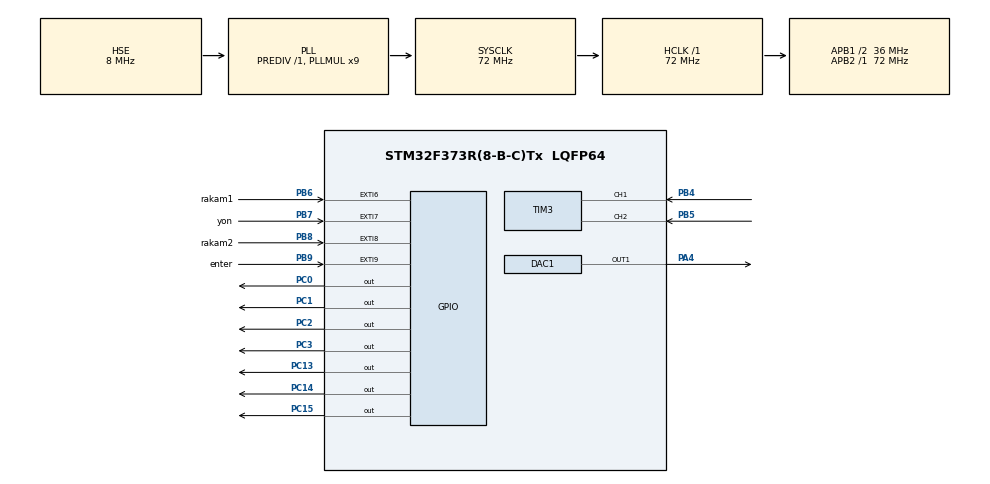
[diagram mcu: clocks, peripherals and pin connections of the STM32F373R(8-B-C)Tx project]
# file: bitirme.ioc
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Mcu.Family=STM32F3
Mcu.Name=STM32F373R(8-B-C)Tx
Mcu.Package=LQFP64
NVIC.EXTI9_5_IRQn=true\:0\:0\:false\:false\:true\:true\:true\:true
NVIC.PriorityGroup=NVIC_PRIORITYGROUP_4
NVIC.TIM4_IRQn=true\:0\:0\:false\:false\:true\:true\:true\:true
PA13.Mode=Serial_Wire
PA13.Signal=SYS_JTMS-SWDIO
PA14.Mode=Serial_Wire
PA14.Signal=SYS_JTCK-SWCLK
PA4.Signal=COMP_DAC11_group
PB4.Signal=S_TIM3_CH1
PB5.Signal=S_TIM3_CH2
PB6.GPIO_Label=rakam1
PB6.Signal=GPXTI6
PB7.GPIO_Label=yon
PB7.Signal=GPXTI7
PB8.GPIO_Label=rakam2
PB8.Signal=GPXTI8
PB9.GPIO_Label=enter
PB9.Signal=GPXTI9
PC0.Signal=GPIO_Output
PC1.Signal=GPIO_Output
PC13.Signal=GPIO_Output
PC14-OSC32_IN.Signal=GPIO_Output
PC15-OSC32_OUT.Signal=GPIO_Output
PC2.Signal=GPIO_Output
PC3.Signal=GPIO_Output
PF0-OSC_IN.Mode=HSE-External-Oscillator
PF0-OSC_IN.Signal=RCC_OSC_IN
PF1-OSC_OUT.Mode=HSE-External-Oscillator
PF1-OSC_OUT.Signal=RCC_OSC_OUT
ProjectManager.HeapSize=0x200
ProjectManager.StackSize=0x400
ProjectManager.TargetToolchain=STM32CubeIDE
RCC.AHBFreq_Value=72000000
RCC.APB1CLKDivider=RCC_HCLK_DIV2
RCC.APB1Freq_Value=36000000
RCC.APB1TimFreq_Value=72000000
RCC.APB2Freq_Value=72000000
RCC.APB2TimFreq_Value=72000000
RCC.CortexFreq_Value=72000000
RCC.HCLKFreq_Value=72000000
RCC.HSE_VALUE=8000000
RCC.HSI_VALUE=8000000
RCC.LSE_VALUE=32768
RCC.PLLMUL=RCC_PLL_MUL9
RCC.PLLSourceVirtual=RCC_PLLSOURCE_HSE
RCC.SYSCLKFreq_VALUE=72000000
RCC.SYSCLKSource=RCC_SYSCLKSOURCE_PLLCLK
RCC.USBFreq_Value=72000000
SH.COMP_DAC11_group.0=DAC1_OUT1,DAC_OUT1
SH.S_TIM3_CH1.0=TIM3_CH1,Encoder_Interface
SH.S_TIM3_CH2.0=TIM3_CH2,Encoder_Interface
TIM3.EncoderMode=TIM_ENCODERMODE_TI12
TIM3.IC1Filter=10
TIM3.IC2Filter=10
TIM4.Period=9
TIM4.Prescaler=7199
VP_TIM4_VS_ClockSourceINT.Mode=Internal
board=custom

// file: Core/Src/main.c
/* USER CODE BEGIN Header */
#include "lcd.h"
#include <math.h>
#include <stdio.h>
/* USER CODE END Header */
#include "main.h"

/* USER CODE BEGIN PTD */
typedef struct{

float Kp;

float hedefhiz;
float integral;
float sonhata;

float output;
int output_min;
int output_max;

float ornekleme_suresi;

}pid_kontrol;
/* USER CODE END PTD */

/* USER CODE BEGIN PD */
#define PI 3.14159265359f
void Pid_init(pid_kontrol* pid,float Kp_deger,float output_min,float output_max,float ornekleme_suresi);
/* USER CODE END PD */

DAC_HandleTypeDef hdac1;

TIM_HandleTypeDef htim3;
TIM_HandleTypeDef htim4;

/* USER CODE BEGIN PV */
pid_kontrol motor;

uint16_t encodereski = 0;
float hiz_rad = 0.0;
float hiz_rpm = 0.0;
float encoderfarkf = 0;

int a = 0;
int b = 0;
int c = 0;
int d = 0;
int zamansondeger =  0;
int hedefhiz_rpm = 0;

/* USER CODE END PV */

void SystemClock_Config(void);
static void MX_GPIO_Init(void);
static void MX_TIM3_Init(void);
static void MX_DAC1_Init(void);
static void MX_TIM4_Init(void);

int main(void)
{

  /* MCU Configuration--------------------------------------------------------*/

  /* Reset of all peripherals, Initializes the Flash interface and the Systick. */
  HAL_Init();

  /* Configure the system clock */
  SystemClock_Config();

  /* Initialize all configured peripherals */
  MX_GPIO_Init();
  MX_TIM3_Init();
  MX_DAC1_Init();
  MX_TIM4_Init();
  /* USER CODE BEGIN 2 */

  HAL_TIM_Encoder_Start(&htim3,TIM_CHANNEL_ALL);  //tim3'ü encoder modunda başlatır
  HAL_TIM_Base_Start_IT(&htim4)     ;     //Tim4'ü 5 ms'de 1 kesme almak için başlat
  HAL_DAC_Start(&hdac1,DAC_CHANNEL_1);

  Pid_init(&motor,10.0f,-2047,2047,0.001);
  /* USER CODE END 2 */

  /* Infinite loop */
  /* USER CODE BEGIN WHILE */
  initLCD();
  while (1)
  {
    /* USER CODE END WHILE */

    /* USER CODE BEGIN 3 */
	  	motor.hedefhiz = hedefhiz_rpm;
	    setCursor(0,0);
	  	HAL_Delay(10);

	  	if(c % 2 == 0)
	  	{
	  		char hedhiz[5];
	  		sprintf(hedhiz,"%d",hedefhiz_rpm);
	  		writeLCD("hedef hiz:");
	  		writeLCD(hedhiz);
	  		setCursor(0, 1);
	  		char mevhiz[5];
	  		sprintf(mevhiz,"%d",(int)hiz_rpm);
	  		writeLCD("motor hizi:");
	  		writeLCD(mevhiz);
	  	}

	  	else
	  	{
	  		clearLCD();
	  		while(c % 2 == 1)
	  		{
	  			setCursor(0, 0);
	  			writeLCD("hedef hizi");
	  			setCursor(0, 1);
	  			writeLCD("giriniz:");
	  		    hedefhiz_rpm = a*10 + b;
	  		    if(d % 2 == 1)
	  		    hedefhiz_rpm = (-1)*hedefhiz_rpm;
	  			char hizayarlcd[4];
	  			sprintf(hizayarlcd,"%d",hedefhiz_rpm);
	  			writeLCD(hizayarlcd);
	  		}
	  		clearLCD();
	  	}
  }
  /* USER CODE END 3 */
}

void SystemClock_Config(void)
{
  RCC_OscInitTypeDef RCC_OscInitStruct = {0};
  RCC_ClkInitTypeDef RCC_ClkInitStruct = {0};

  /** Initializes the RCC Oscillators according to the specified parameters
  * in the RCC_OscInitTypeDef structure.
  */
  RCC_OscInitStruct.OscillatorType = RCC_OSCILLATORTYPE_HSE;
  RCC_OscInitStruct.HSEState = RCC_HSE_ON;
  RCC_OscInitStruct.HSEPredivValue = RCC_HSE_PREDIV_DIV1;
  RCC_OscInitStruct.HSIState = RCC_HSI_ON;
  RCC_OscInitStruct.PLL.PLLState = RCC_PLL_ON;
  RCC_OscInitStruct.PLL.PLLSource = RCC_PLLSOURCE_HSE;
  RCC_OscInitStruct.PLL.PLLMUL = RCC_PLL_MUL9;
  if (HAL_RCC_OscConfig(&RCC_OscInitStruct) != HAL_OK)
  {
    Error_Handler();
  }

  /** Initializes the CPU, AHB and APB buses clocks
  */
  RCC_ClkInitStruct.ClockType = RCC_CLOCKTYPE_HCLK|RCC_CLOCKTYPE_SYSCLK
                              |RCC_CLOCKTYPE_PCLK1|RCC_CLOCKTYPE_PCLK2;
  RCC_ClkInitStruct.SYSCLKSource = RCC_SYSCLKSOURCE_PLLCLK;
  RCC_ClkInitStruct.AHBCLKDivider = RCC_SYSCLK_DIV1;
  RCC_ClkInitStruct.APB1CLKDivider = RCC_HCLK_DIV2;
  RCC_ClkInitStruct.APB2CLKDivider = RCC_HCLK_DIV1;

  if (HAL_RCC_ClockConfig(&RCC_ClkInitStruct, FLASH_LATENCY_2) != HAL_OK)
  {
    Error_Handler();
  }
}

static void MX_DAC1_Init(void)
{

  DAC_ChannelConfTypeDef sConfig = {0};

  /** DAC Initialization
  */
  hdac1.Instance = DAC1;
  if (HAL_DAC_Init(&hdac1) != HAL_OK)
  {
    Error_Handler();
  }

  /** DAC channel OUT1 config
  */
  sConfig.DAC_Trigger = DAC_TRIGGER_NONE;
  sConfig.DAC_OutputBuffer = DAC_OUTPUTBUFFER_ENABLE;
  if (HAL_DAC_ConfigChannel(&hdac1, &sConfig, DAC_CHANNEL_1) != HAL_OK)
  {
    Error_Handler();
  }

}

static void MX_TIM3_Init(void)
{

  TIM_Encoder_InitTypeDef sConfig = {0};
  TIM_MasterConfigTypeDef sMasterConfig = {0};

  htim3.Instance = TIM3;
  htim3.Init.Prescaler = 0;
  htim3.Init.CounterMode = TIM_COUNTERMODE_UP;
  htim3.Init.Period = 65535;
  htim3.Init.ClockDivision = TIM_CLOCKDIVISION_DIV1;
  htim3.Init.AutoReloadPreload = TIM_AUTORELOAD_PRELOAD_DISABLE;
  sConfig.EncoderMode = TIM_ENCODERMODE_TI12;
  sConfig.IC1Polarity = TIM_ICPOLARITY_RISING;
  sConfig.IC1Selection = TIM_ICSELECTION_DIRECTTI;
  sConfig.IC1Prescaler = TIM_ICPSC_DIV1;
  sConfig.IC1Filter = 10;
  sConfig.IC2Polarity = TIM_ICPOLARITY_RISING;
  sConfig.IC2Selection = TIM_ICSELECTION_DIRECTTI;
  sConfig.IC2Prescaler = TIM_ICPSC_DIV1;
  sConfig.IC2Filter = 10;
  if (HAL_TIM_Encoder_Init(&htim3, &sConfig) != HAL_OK)
  {
    Error_Handler();
  }
  sMasterConfig.MasterOutputTrigger = TIM_TRGO_RESET;
  sMasterConfig.MasterSlaveMode = TIM_MASTERSLAVEMODE_DISABLE;
  if (HAL_TIMEx_MasterConfigSynchronization(&htim3, &sMasterConfig) != HAL_OK)
  {
    Error_Handler();
  }

}

static void MX_TIM4_Init(void)
{

  TIM_ClockConfigTypeDef sClockSourceConfig = {0};
  TIM_MasterConfigTypeDef sMasterConfig = {0};

  htim4.Instance = TIM4;
  htim4.Init.Prescaler = 7199;
  htim4.Init.CounterMode = TIM_COUNTERMODE_UP;
  htim4.Init.Period = 9;
  htim4.Init.ClockDivision = TIM_CLOCKDIVISION_DIV1;
  htim4.Init.AutoReloadPreload = TIM_AUTORELOAD_PRELOAD_DISABLE;
  if (HAL_TIM_Base_Init(&htim4) != HAL_OK)
  {
    Error_Handler();
  }
  sClockSourceConfig.ClockSource = TIM_CLOCKSOURCE_INTERNAL;
  if (HAL_TIM_ConfigClockSource(&htim4, &sClockSourceConfig) != HAL_OK)
  {
    Error_Handler();
  }
  sMasterConfig.MasterOutputTrigger = TIM_TRGO_RESET;
  sMasterConfig.MasterSlaveMode = TIM_MASTERSLAVEMODE_DISABLE;
  if (HAL_TIMEx_MasterConfigSynchronization(&htim4, &sMasterConfig) != HAL_OK)
  {
    Error_Handler();
  }

}

static void MX_GPIO_Init(void)
{
  GPIO_InitTypeDef GPIO_InitStruct = {0};

  /* GPIO Ports Clock Enable */
  __HAL_RCC_GPIOC_CLK_ENABLE();
  __HAL_RCC_GPIOF_CLK_ENABLE();
  __HAL_RCC_GPIOA_CLK_ENABLE();
  __HAL_RCC_GPIOB_CLK_ENABLE();

  /*Configure GPIO pin Output Level */
  HAL_GPIO_WritePin(GPIOC, GPIO_PIN_13|GPIO_PIN_14|GPIO_PIN_15|GPIO_PIN_0
                          |GPIO_PIN_1|GPIO_PIN_2|GPIO_PIN_3, GPIO_PIN_RESET);

  /*Configure GPIO pins : PC13 PC14 PC15 PC0
                           PC1 PC2 PC3 */
  GPIO_InitStruct.Pin = GPIO_PIN_13|GPIO_PIN_14|GPIO_PIN_15|GPIO_PIN_0
                          |GPIO_PIN_1|GPIO_PIN_2|GPIO_PIN_3;
  GPIO_InitStruct.Mode = GPIO_MODE_OUTPUT_PP;
  GPIO_InitStruct.Pull = GPIO_NOPULL;
  GPIO_InitStruct.Speed = GPIO_SPEED_FREQ_LOW;
  HAL_GPIO_Init(GPIOC, &GPIO_InitStruct);

  /*Configure GPIO pins : rakam1_Pin yon_Pin rakam2_Pin enter_Pin */
  GPIO_InitStruct.Pin = rakam1_Pin|yon_Pin|rakam2_Pin|enter_Pin;
  GPIO_InitStruct.Mode = GPIO_MODE_IT_RISING;
  GPIO_InitStruct.Pull = GPIO_NOPULL;
  HAL_GPIO_Init(GPIOB, &GPIO_InitStruct);

  /* EXTI interrupt init*/
  HAL_NVIC_SetPriority(EXTI9_5_IRQn, 0, 0);
  HAL_NVIC_EnableIRQ(EXTI9_5_IRQn);

}

/* USER CODE BEGIN 4 */
void HAL_GPIO_EXTI_Callback(uint16_t GPIO_Pin)
{

	if(GPIO_Pin == rakam1_Pin)
	{
		if(c % 2  == 1)
		{
			if((HAL_GetTick()-zamansondeger) > 800)
			{
				zamansondeger = HAL_GetTick();
				a++;
				if(a>9)
					a = 0;
			}
		}
	}

	if(GPIO_Pin == rakam2_Pin)
	{
		if(c % 2 == 1)
		{
			if((HAL_GetTick()-zamansondeger) > 800)
			{
				zamansondeger = HAL_GetTick();
				b++;
				if(b>9)
					b = 0;
		    }
		}
	}

	if(GPIO_Pin == enter_Pin)
	{
		if((HAL_GetTick()-zamansondeger) > 800)
		{
			zamansondeger = HAL_GetTick();
			c++;
		}
	}

	if(GPIO_Pin == yon_Pin)
	{
		if(c % 2 == 1)
		{

			if((HAL_GetTick()-zamansondeger) > 800)
			{
				zamansondeger = HAL_GetTick();
				d++;
			}
		}
	}
}

void Pid_init(pid_kontrol* pid,float Kp_deger,float output_min,float output_max,float ornekleme_suresi)
{
pid->Kp = Kp_deger;

pid->hedefhiz = 0.0f;
pid->integral = 0.0f;
pid->sonhata = 0.0f;

pid->output = 0.0f;
pid->output_min = output_min ;
pid->output_max = output_max;

pid->ornekleme_suresi = ornekleme_suresi;
}

float pid_hesaplama(pid_kontrol* pid,float anlikhiz)
{
	float hata = pid->hedefhiz - anlikhiz;
	float P = pid->Kp * hata;

	pid->output = P ;

	if(pid->output > pid->output_max)
		pid->output = pid-> output_max;

	else if(pid->output < pid->output_min)
		pid->output = pid->output_min;

	pid->output = pid->output + 2047;
	pid->sonhata = hata;

	return pid->output;
}

void HAL_TIM_PeriodElapsedCallback(TIM_HandleTypeDef *htim)
{
	if(htim->Instance == TIM4)
	{
		uint16_t encodersimdi = __HAL_TIM_GET_COUNTER(&htim3);
		int16_t encoderfark = encodersimdi - encodereski;
		encodereski = encodersimdi;
		encoderfarkf = (float)encoderfark;

		hiz_rpm = ((encoderfarkf / 4000.0f) * 60000.0f) / 53.0f;
		hiz_rad = ( PI * hiz_rpm) / 30.f ;

		int dacgiris = round(pid_hesaplama(&motor, hiz_rad));
		HAL_DAC_SetValue(&hdac1, DAC_CHANNEL_1,DAC_ALIGN_12B_R,dacgiris);
	}
}
/* USER CODE END 4 */

void Error_Handler(void)
{
  __disable_irq();
  while (1)
  {
  }
}
